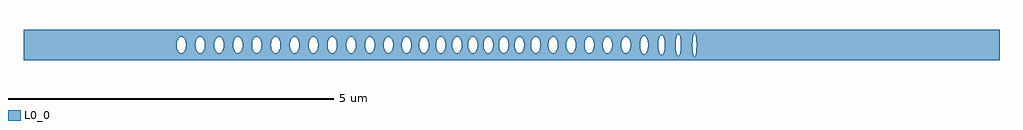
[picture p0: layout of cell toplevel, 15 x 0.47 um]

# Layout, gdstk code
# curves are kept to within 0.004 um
import gdstk
lib = gdstk.Library(unit=1e-6, precision=1e-09)
def P(c, l, *ps):  # polygons
    for p in ps: c.add(gdstk.Polygon(p, *l))
L0_0 = (0, 0)

toplevel = lib.new_cell('toplevel')
P(toplevel, L0_0, [(-4.566,0.016),(-4.553,0.075),(-4.533,0.108),(-4.513,0.123),(-4.513,0.234),(-7.5,0.234),(-7.5,-0.008),(-5.147,-0.008),(-5.142,0.047),(-5.124,0.093),(-5.101,0.119),(-5.075,0.128),(-5.048,0.119),(-5.025,0.093),(-5.007,0.047),(-5.002,-0.008),(-4.857,-0.008),(-4.852,0.047),(-4.834,0.093),(-4.811,0.119),(-4.785,0.128),(-4.758,0.119),(-4.738,0.098),(-4.723,0.068),(-4.712,0.008),(-4.717,-0.047),(-4.735,-0.093),(-4.758,-0.119),(-4.785,-0.128),(-4.811,-0.119),(-4.831,-0.098),(-4.846,-0.068),(-4.857,-0.008),(-5.002,-0.008),(-5.013,-0.068),(-5.028,-0.098),(-5.048,-0.119),(-5.075,-0.128),(-5.101,-0.119),(-5.121,-0.098),(-5.136,-0.068),(-5.147,-0.008),(-7.5,-0.008),(-7.5,-0.234),(-4.513,-0.234),(-4.513,-0.123),(-4.541,-0.098),(-4.556,-0.068),(-4.566,-0.024)],
  [(-3.986,0.016),(-3.973,0.075),(-3.953,0.108),(-3.933,0.123),(-3.915,0.128),(-3.888,0.119),(-3.856,0.075),(-3.856,0.234),(-4.513,0.234),(-4.513,0.123),(-4.481,0.125),(-4.448,0.098),(-4.427,0.047),(-4.422,-0.008),(-4.277,-0.008),(-4.272,0.047),(-4.254,0.093),(-4.231,0.119),(-4.205,0.128),(-4.178,0.119),(-4.158,0.098),(-4.143,0.068),(-4.132,0.008),(-4.137,-0.047),(-4.155,-0.093),(-4.178,-0.119),(-4.205,-0.128),(-4.231,-0.119),(-4.251,-0.098),(-4.266,-0.068),(-4.277,-0.008),(-4.422,-0.008),(-4.433,-0.068),(-4.448,-0.098),(-4.481,-0.125),(-4.513,-0.123),(-4.513,-0.234),(-3.856,-0.234),(-3.856,-0.075),(-3.888,-0.119),(-3.915,-0.128),(-3.941,-0.119),(-3.961,-0.098),(-3.976,-0.068),(-3.986,-0.024)],
  [(-3.113,-0.039),(-3.117,0.008),(-3.112,0.045),(-3.112,0.234),(-3.856,0.234),(-3.856,0.074),(-3.844,0.032),(-3.842,-0.008),(-3.697,-0.008),(-3.692,0.047),(-3.674,0.093),(-3.651,0.119),(-3.625,0.128),(-3.598,0.119),(-3.575,0.093),(-3.557,0.047),(-3.552,-0.008),(-3.407,-0.008),(-3.402,0.047),(-3.384,0.093),(-3.361,0.119),(-3.335,0.128),(-3.308,0.119),(-3.288,0.098),(-3.273,0.068),(-3.262,0.008),(-3.267,-0.047),(-3.285,-0.093),(-3.308,-0.119),(-3.335,-0.128),(-3.361,-0.119),(-3.381,-0.098),(-3.396,-0.068),(-3.407,-0.008),(-3.552,-0.008),(-3.563,-0.068),(-3.578,-0.098),(-3.598,-0.119),(-3.625,-0.128),(-3.651,-0.119),(-3.671,-0.098),(-3.686,-0.068),(-3.697,-0.008),(-3.842,-0.008),(-3.856,-0.075),(-3.856,-0.234),(-3.112,-0.234)],
  [(-3.106,0.068),(-3.091,0.098),(-3.071,0.119),(-3.045,0.128),(-3.031,0.125),(-3.006,0.108),(-2.986,0.075),(-2.977,0.047),(-2.972,-0.008),(-2.827,-0.008),(-2.822,0.047),(-2.804,0.093),(-2.781,0.119),(-2.755,0.128),(-2.728,0.119),(-2.705,0.093),(-2.687,0.047),(-2.682,-0.008),(-2.691,-0.061),(-2.708,-0.098),(-2.728,-0.119),(-2.755,-0.128),(-2.781,-0.119),(-2.801,-0.098),(-2.816,-0.068),(-2.827,-0.008),(-2.972,-0.008),(-2.983,-0.068),(-2.998,-0.098),(-3.018,-0.119),(-3.045,-0.128),(-3.08,-0.112),(-3.094,-0.093),(-3.112,-0.048),(-3.112,-0.234),(-2.442,-0.234),(-2.442,-0.121),(-2.465,-0.128),(-2.5,-0.112),(-2.526,-0.068),(-2.537,-0.008),(-2.534,0.039),(-2.511,0.098),(-2.478,0.125),(-2.465,0.128),(-2.442,0.121),(-2.442,0.234),(-3.112,0.234),(-3.112,0.047)],
  [(-2.396,-0.039),(-2.415,-0.093),(-2.442,-0.121),(-2.442,-0.234),(-1.824,-0.234),(-1.824,-0.048),(-1.832,-0.075),(-1.856,-0.112),(-1.878,-0.125),(-1.905,-0.125),(-1.926,-0.112),(-1.941,-0.093),(-1.955,-0.061),(-1.963,-0.016),(-1.961,0.032),(-1.95,0.075),(-1.93,0.108),(-1.905,0.125),(-1.878,0.125),(-1.856,0.112),(-1.832,0.075),(-1.824,0.047),(-1.824,0.234),(-2.442,0.234),(-2.442,0.121),(-2.422,0.103),(-2.406,0.075),(-2.397,0.047),(-2.393,-0.016),(-2.248,-0.016),(-2.245,0.039),(-2.232,0.081),(-2.211,0.112),(-2.176,0.128),(-2.149,0.119),(-2.137,0.108),(-2.108,0.047),(-2.103,0),(-2.112,-0.061),(-2.133,-0.103),(-2.162,-0.125),(-2.189,-0.125),(-2.215,-0.108),(-2.237,-0.068),(-2.248,-0.016),(-2.393,-0.016)],
  [(-1.822,-0.039),(-1.824,-0.234),(-1.145,-0.234),(-1.145,-0.075),(-1.159,-0.008),(-1.154,0.047),(-1.145,0.074),(-1.145,0.234),(-1.824,0.234),(-1.819,-0.008),(-1.686,-0.008),(-1.681,0.047),(-1.663,0.093),(-1.64,0.119),(-1.614,0.128),(-1.587,0.119),(-1.564,0.093),(-1.546,0.047),(-1.541,0),(-1.418,0),(-1.409,0.061),(-1.384,0.108),(-1.372,0.119),(-1.345,0.128),(-1.318,0.119),(-1.299,0.098),(-1.284,0.068),(-1.275,0.032),(-1.273,-0.016),(-1.292,-0.087),(-1.306,-0.108),(-1.327,-0.123),(-1.359,-0.125),(-1.388,-0.103),(-1.409,-0.061),(-1.418,0),(-1.541,0),(-1.546,-0.047),(-1.564,-0.093),(-1.587,-0.119),(-1.614,-0.128),(-1.64,-0.119),(-1.66,-0.098),(-1.675,-0.068),(-1.686,-0.008),(-1.819,-0.008)],
  [(-0.666,0.016),(-0.66,0.054),(-0.644,0.093),(-0.621,0.119),(-0.603,0.126),(-0.603,0.234),(-1.145,0.234),(-1.145,0.075),(-1.113,0.119),(-1.086,0.128),(-1.06,0.119),(-1.04,0.098),(-1.025,0.068),(-1.014,-0.008),(-0.909,-0.008),(-0.906,0.039),(-0.886,0.093),(-0.863,0.119),(-0.837,0.128),(-0.81,0.119),(-0.787,0.093),(-0.769,0.047),(-0.764,0.008),(-0.769,-0.047),(-0.787,-0.093),(-0.81,-0.119),(-0.832,-0.127),(-0.863,-0.119),(-0.883,-0.098),(-0.898,-0.068),(-0.909,-0.008),(-1.014,-0.008),(-1.019,-0.047),(-1.037,-0.093),(-1.051,-0.112),(-1.073,-0.125),(-1.086,-0.128),(-1.113,-0.119),(-1.145,-0.075),(-1.145,-0.234),(-0.603,-0.234),(-0.603,-0.126),(-0.633,-0.108),(-0.653,-0.075),(-0.663,-0.039)],
  [(-0.19,0.016),(-0.177,0.075),(-0.145,0.119),(-0.119,0.128),(-0.092,0.119),(-0.08,0.108),(-0.08,0.234),(-0.603,0.234),(-0.603,0.126),(-0.568,0.119),(-0.541,0.087),(-0.525,0.039),(-0.522,-0.016),(-0.428,-0.016),(-0.425,0.039),(-0.412,0.081),(-0.391,0.112),(-0.356,0.128),(-0.329,0.119),(-0.306,0.093),(-0.29,0.054),(-0.283,0),(-0.29,-0.054),(-0.306,-0.093),(-0.329,-0.119),(-0.356,-0.128),(-0.382,-0.119),(-0.402,-0.098),(-0.417,-0.068),(-0.428,-0.016),(-0.522,-0.016),(-0.533,-0.068),(-0.555,-0.108),(-0.581,-0.125),(-0.603,-0.126),(-0.603,-0.234),(-0.08,-0.234),(-0.08,-0.108),(-0.092,-0.119),(-0.119,-0.128),(-0.145,-0.119),(-0.157,-0.108),(-0.186,-0.047)],
  [(-0.048,-0.032),(-0.057,-0.068),(-0.08,-0.108),(-0.08,-0.234),(0.569,-0.234),(0.569,0.234),(-0.08,0.234),(-0.08,0.108),(-0.051,0.047),(-0.047,-0.016),(0.05,-0.016),(0.052,0.032),(0.063,0.075),(0.087,0.112),(0.122,0.128),(0.149,0.119),(0.172,0.093),(0.191,0.039),(0.194,-0.016),(0.301,-0.016),(0.306,0.047),(0.317,0.081),(0.334,0.108),(0.346,0.119),(0.373,0.128),(0.4,0.119),(0.432,0.075),(0.446,0),(0.432,-0.075),(0.412,-0.108),(0.387,-0.125),(0.36,-0.125),(0.334,-0.108),(0.312,-0.068),(0.301,-0.016),(0.194,-0.016),(0.172,-0.093),(0.149,-0.119),(0.122,-0.128),(0.095,-0.119),(0.072,-0.093),(0.058,-0.061),(0.05,-0.016),(-0.047,-0.016)],
  [(0.57,0.039),(0.58,0.075),(0.596,0.103),(0.612,0.119),(0.639,0.128),(0.666,0.119),(0.689,0.093),(0.705,0.054),(0.711,-0.008),(0.843,-0.008),(0.848,0.047),(0.866,0.093),(0.889,0.119),(0.916,0.128),(0.942,0.119),(0.965,0.093),(0.983,0.047),(0.988,-0.008),(0.983,-0.047),(0.965,-0.093),(0.942,-0.119),(0.916,-0.128),(0.889,-0.119),(0.869,-0.098),(0.854,-0.068),(0.843,-0.008),(0.711,-0.008),(0.705,-0.054),(0.689,-0.093),(0.666,-0.119),(0.639,-0.128),(0.612,-0.119),(0.596,-0.103),(0.58,-0.075),(0.569,-0.035),(0.569,-0.234),(1.195,-0.234),(1.195,-0.128),(1.169,-0.119),(1.149,-0.098),(1.134,-0.068),(1.123,-0.008),(1.126,0.039),(1.146,0.093),(1.169,0.119),(1.195,0.128),(1.195,0.234),(0.569,0.234)],
  [(1.686,0.016),(1.699,0.075),(1.723,0.112),(1.758,0.128),(1.789,0.115),(1.789,0.234),(1.195,0.234),(1.195,0.128),(1.222,0.119),(1.245,0.093),(1.263,0.047),(1.267,-0.016),(1.403,-0.016),(1.406,0.039),(1.419,0.081),(1.44,0.112),(1.475,0.128),(1.502,0.119),(1.525,0.093),(1.541,0.054),(1.548,0),(1.541,-0.054),(1.525,-0.093),(1.502,-0.119),(1.475,-0.128),(1.449,-0.119),(1.429,-0.098),(1.414,-0.068),(1.403,-0.016),(1.267,-0.016),(1.263,-0.047),(1.245,-0.093),(1.222,-0.119),(1.195,-0.128),(1.195,-0.234),(1.789,-0.234),(1.789,-0.115),(1.758,-0.128),(1.731,-0.119),(1.715,-0.103),(1.692,-0.054)],
  [(1.789,0.234),(1.789,0.115),(1.819,0.068),(1.83,0.016),(1.829,-0.018),(1.976,-0.018),(1.98,0.052),(1.99,0.09),(2.008,0.123),(2.03,0.14),(2.054,0.136),(2.075,0.114),(2.093,0.068),(2.1,0.018),(2.096,-0.052),(2.086,-0.09),(2.065,-0.127),(2.046,-0.14),(2.019,-0.134),(2.001,-0.114),(1.984,-0.068),(1.976,-0.018),(1.829,-0.018),(1.814,-0.081),(1.789,-0.115),(1.789,-0.234),(2.351,-0.234),(2.351,-0.083),(2.332,-0.135),(2.313,-0.153),(2.3,-0.153),(2.287,-0.143),(2.273,-0.118),(2.255,-0.029),(2.261,0.074),(2.273,0.118),(2.287,0.143),(2.3,0.153),(2.32,0.149),(2.34,0.118),(2.351,0.082),(2.351,0.234)],
  [(7.5,-0.234),(7.5,0.234),(2.351,0.234),(2.357,-0.031),(2.522,-0.031),(2.522,0.031),(2.531,0.106),(2.543,0.146),(2.561,0.167),(2.579,0.155),(2.596,0.106),(2.605,-0.023),(2.781,-0.023),(2.788,0.115),(2.797,0.158),(2.811,0.18),(2.823,0.171),(2.833,0.139),(2.844,0.034),(2.836,-0.123),(2.828,-0.158),(2.815,-0.18),(2.803,-0.171),(2.794,-0.146),(2.781,-0.023),(2.605,-0.023),(2.592,-0.122),(2.579,-0.155),(2.566,-0.167),(2.553,-0.162),(2.537,-0.129),(2.522,-0.031),(2.357,-0.031),(2.351,-0.082),(2.351,-0.234)])

lib.write_gds('toplevel.gds')
